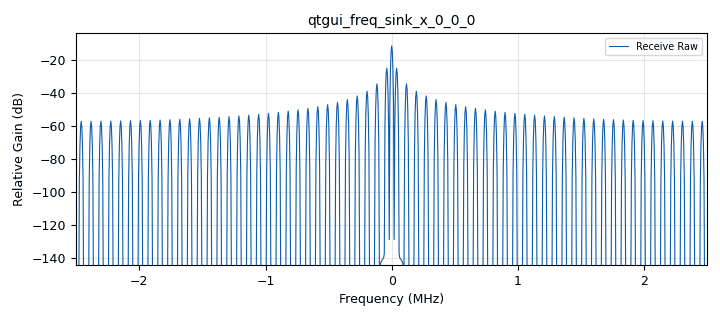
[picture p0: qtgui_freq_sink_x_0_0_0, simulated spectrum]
options:
  parameters:
    author: mzemlo.pl@gmail.com
    copyright: Maciej Zemło
    generate_options: qt_gui
    id: dsp_tuto_001_bandpass_sampling
    output_language: python
    title: dsp tuto 001 bandpass sampling v02 ASK
  states: {}

blocks:
- name: B
  id: variable
  parameters:
    value: 5e6
  states: {}
- name: fc
  id: variable
  parameters:
    value: 3.8e9
  states: {}
- name: fs
  id: variable
  parameters:
    value: ((2*fc)-B)/m
  states: {}
- name: m
  id: variable
  parameters:
    value: '150'
  states: {}
- name: sps
  id: variable
  parameters:
    value: '64'
  states: {}
- name: tx_attenuation
  id: variable_qtgui_range
  parameters:
    start: '10'
    step: '5'
    stop: '70'
    value: '40'
  states: {}
- name: blocks_repeat_0
  id: blocks_repeat
  parameters:
    interp: sps
    type: complex
  states: {}
- name: blocks_vector_source_x_0
  id: blocks_vector_source_x
  parameters:
    repeat: 'True'
    type: complex
    vector: '[1/2, 1]'
  states: {}
- name: iio_pluto_sink_0
  id: iio_pluto_sink
  parameters:
    attenuation1: '10.0'
    bandwidth: '20000000'
    buffer_size: '32768'
    cyclic: 'False'
    filter_source: '''Auto'''
    frequency: int(fc)
    samplerate: '65105'
    type: fc32
    uri: ip:192.168.2.1
  states: {}
- name: iio_pluto_source_0
  id: iio_pluto_source
  parameters:
    bandwidth: '20000000'
    bbdc: 'True'
    buffer_size: '32768'
    filter_source: '''Auto'''
    frequency: int(fc)
    gain1: '''slow_attack'''
    quadrature: 'True'
    rfdc: 'True'
    samplerate: int(fs)
    type: fc32
    uri: ip:192.168.2.1
  states: {}
- name: qtgui_freq_sink_x_0_0
  id: qtgui_freq_sink_x
  parameters:
    autoscale: 'True'
    bw: B
    fc: '0'
    fftsize: '1024'
    label1: Receive Raw
    type: complex
  states: {}
- name: qtgui_freq_sink_x_0_0_0
  id: qtgui_freq_sink_x
  parameters:
    autoscale: 'True'
    bw: B
    fc: '0'
    fftsize: '1024'
    label1: Receive Raw
    type: complex
  states: {}
- name: qtgui_time_sink_x_0
  id: qtgui_time_sink_x
  parameters:
    autoscale: 'True'
    label1: Transmit Re
    label2: Transmit Im
    size: '1024'
    srate: fs
    type: complex
  states: {}

connections:
- [blocks_repeat_0, '0', iio_pluto_sink_0, '0']
- [blocks_repeat_0, '0', qtgui_freq_sink_x_0_0_0, '0']
- [blocks_vector_source_x_0, '0', blocks_repeat_0, '0']
- [iio_pluto_source_0, '0', qtgui_freq_sink_x_0_0, '0']
- [iio_pluto_source_0, '0', qtgui_time_sink_x_0, '0']

metadata:
  file_format: 1
  grc_version: 3.10.9.2
